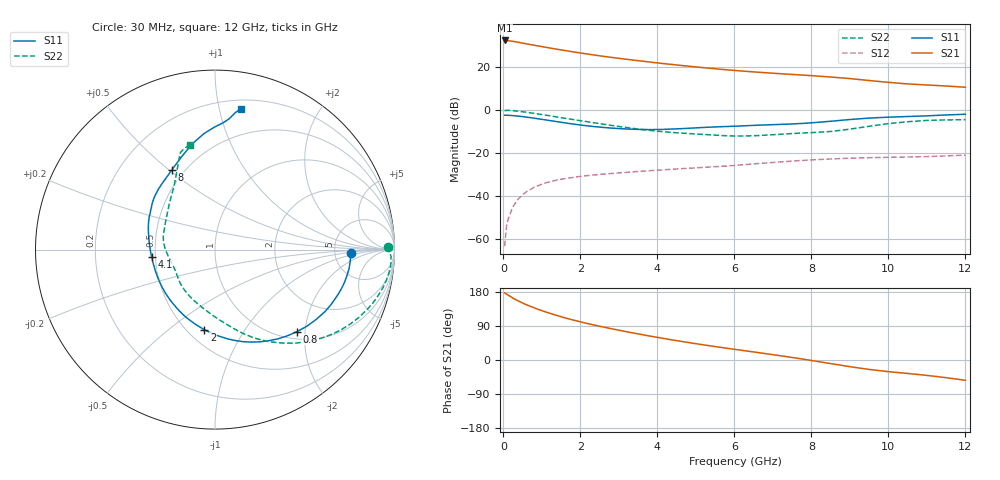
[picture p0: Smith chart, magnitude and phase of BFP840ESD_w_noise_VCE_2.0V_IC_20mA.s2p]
! Infineon Technologies  Discrete & RF Semiconductors
! BFP840ESD
! VCE =  2.0 V,  IC =  20 mA
! Common Emitter S-Parameters:  May 2012
# GHz  S  MA  R  50
!  f  S11  S21  S12  S22
! GHz  MAG  ANG  MAG  ANG  MAG  ANG  MAG  ANG
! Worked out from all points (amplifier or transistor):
!   93 points, 30 MHz to 12 GHz, reference 50 ohm
!   highest |S21| = 32.2 dB at 30 MHz (marker M1)
!   |S21| within 3 dB of that: start of sweep to 1.047 GHz
!   unconditionally stable (mu >= 1): 4.907 GHz to 8.159 GHz
!   at 1.1 GHz: K = 0.41, MSG = 31.4 dB, |S12| = -33.8 dB
!   at 4.2 GHz: K = 0.94, MSG = 24.6 dB, |S12| = -27.7 dB
!   at 12 GHz: K = 0.73, MSG = 15.7 dB, |S12| = -20.9 dB
!   lowest NFmin = 1.16 dB at 450 MHz
!   S11 on the Smith chart (normalised r, x): 30 MHz: 7.15, -0.71; 800 MHz: 1.16, -1.82; 2 GHz: 0.60, -0.68; 4.1 GHz: 0.48, -0.05; 8 GHz: 0.43, +0.51; 12 GHz: 0.27, +1.16
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0.03  0.7566 -1.6  40.95 177.1  0.0007 85.0  0.9618 1.0
0.13  0.7547 -8.0  40.34 170.8  0.0031 76.1  0.9831 -5.3
0.23  0.7444 -14.1  39.22 164.5  0.0055 75.9  0.9695 -10.2
0.38  0.722 -22.7  37.14 156.1  0.0086 75.6  0.9386 -16.8
0.6  0.6843 -34.8  34.16 145.7  0.0128 69.0  0.8864 -25.2
0.8  0.6465 -45.0  31.72 137.6  0.0164 64.7  0.8358 -32.0
1.1  0.5893 -59.5  28.45 126.7  0.0205 57.8  0.7598 -41.1
1.4  0.5365 -73.0  25.58 117.1  0.0241 53.0  0.6881 -49.2
1.7  0.4885 -85.6  23.13 108.4  0.0265 48.8  0.6225 -56.3
2  0.4501 -97.6  20.97 100.7  0.029 45.1  0.5662 -62.8
2.1  0.4383 -101.5  20.35 98.2  0.0298 44.4  0.5491 -64.8
2.5  0.4022 -116.7  18.07 89.0  0.0323 41.5  0.484 -72.5
3  0.3715 -135.0  15.77 78.6  0.035 38.5  0.416 -82.0
3.5  0.3558 -152.6  13.92 68.8  0.0377 36.5  0.3627 -92.9
4.1  0.3549 -173.0  12.08 57.9  0.0407 34.2  0.3171 -107.7
4.9  0.3816 166.2  10.17 44.6  0.0452 31.4  0.2818 -127.3
6.1  0.4249 146.6  8.134 26.9  0.0529 28.8  0.2502 -154.7
8  0.5052 118.4  6.26 -1.3  0.07 17.3  0.2996 163.2
8.5  0.5492 109.9  5.824 -9.4  0.0734 13.4  0.318 149.7
9.5  0.6502 95.3  4.828 -24.9  0.0785 4.8  0.4198 123.0
10.5  0.7074 86.4  4.032 -35.5  0.0814 -1.9  0.5355 112.2
12  0.7986 79.6  3.371 -53.5  0.0901 -9.4  0.5992 103.3
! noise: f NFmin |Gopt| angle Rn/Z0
0.45  1.16  0.06  2  0.13
0.9  1.17  0.03  -10  0.13
1.5  1.18  0.03  -24  0.12
1.9  1.18  0.02  -48  0.12
2.4  1.19  0.03  -94  0.11
3.5  1.19  0.07  -118  0.11
5.5  1.23  0.15  -118  0.13
8  1.32  0.31  -109  0.16
10  1.41  0.53  -77  0.26
12  1.58  0.66  -65  0.36
